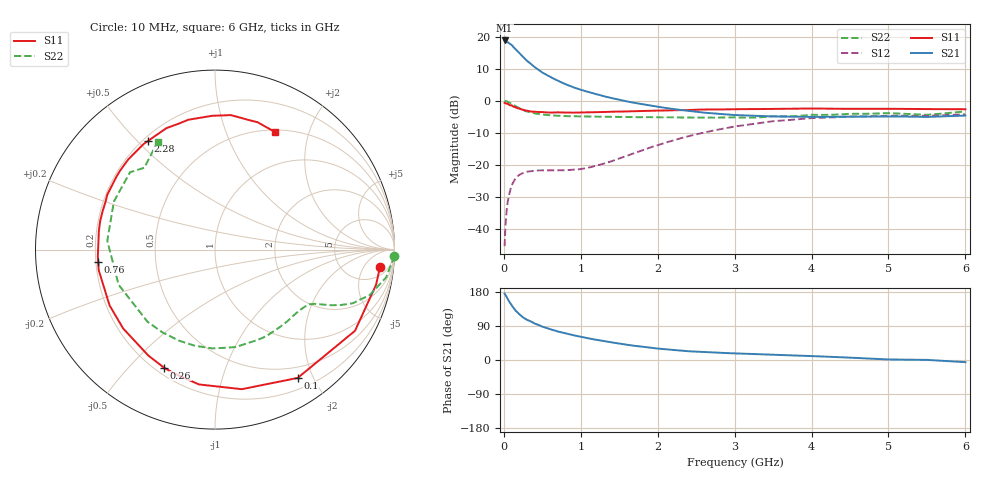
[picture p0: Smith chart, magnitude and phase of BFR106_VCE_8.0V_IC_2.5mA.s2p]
! Infineon Technologies  Discrete & RF Semiconductors
! BFR106
! VCE =  8.0 V,  IC =  2.5 mA
! Common Emitter S-Parameters:  Nov 2015
# GHz  S  MA  R  50
!  f  S11  S21  S12  S22
! GHz  MAG  ANG  MAG  ANG  MAG  ANG  MAG  ANG
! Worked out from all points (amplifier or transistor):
!   210 points, 10 MHz to 6 GHz, reference 50 ohm
!   highest |S21| = 18.8 dB at 10 MHz (marker M1)
!   |S21| within 3 dB of that: start of sweep to 163.5 MHz
!   unconditionally stable (mu >= 1): 751.3 MHz to 1.829 GHz; 4.28 GHz to end of sweep
!   at 185 MHz: K = 0.26, MSG = 19.4 dB, |S12| = -23.5 dB
!   at 1.52 GHz: K = 1.14, MAG = 6.7 dB, |S12| = -17.8 dB
!   at 6 GHz: K = 1.02, MAG = -1.0 dB, |S12| = -4.2 dB
!   S11 on the Smith chart (normalised r, x): 10 MHz: 9, -12; 100 MHz: 0.34, -1.78; 260 MHz: 0.23, -0.63; 760 MHz: 0.21, -0.05; 2.28 GHz: 0.22, +0.54; 6 GHz: 0.52, +1.50
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0.01  0.9243 -6.1  8.678 175.3  0.0054 88.9  0.9978 -1.9
0.025  0.9098 -15.2  8.505 170.4  0.0132 81.1  0.9852 -4.8
0.05  0.9018 -30.1  8.192 160.4  0.0265 74.0  0.9661 -9.2
0.1  0.8505 -57.2  7.415 144.7  0.0475 61.0  0.8981 -16.4
0.15  0.792 -79.1  6.383 130.6  0.0611 50.1  0.8231 -21.3
0.2  0.7566 -96.8  5.553 120.9  0.0697 44.1  0.7635 -23.9
0.24  0.7264 -108.3  4.953 114.1  0.0739 39.3  0.7223 -25.4
0.26  0.7164 -113.4  4.688 111.1  0.0756 37.7  0.7053 -26.0
0.3  0.6974 -122.2  4.197 106.2  0.0781 35.6  0.678 -26.9
0.4  0.6745 -139.3  3.342 96.3  0.0814 31.7  0.6331 -28.5
0.5  0.6647 -152.1  2.746 88.0  0.0821 30.7  0.6072 -30.2
0.6  0.6526 -161.8  2.351 81.4  0.0822 31.8  0.5923 -32.5
0.76  0.6545 -174.0  1.901 72.5  0.0821 36.2  0.5776 -36.6
1.02  0.6555 170.1  1.454 60.4  0.0867 47.7  0.5679 -44.2
1.4  0.6734 153.1  1.095 46.5  0.1137 64.5  0.5607 -57.5
2.02  0.6999 130.0  0.797 29.9  0.2061 71.1  0.5504 -83.4
2.28  0.7111 121.6  0.721 25.2  0.2557 68.8  0.5472 -95.6
3.1  0.7381 99.5  0.591 16.8  0.4107 52.7  0.5447 -138.5
3.5  0.7456 91.3  0.568 14.1  0.4788 43.8  0.5715 -159.9
4.1  0.7521 82.0  0.56 9.6  0.5395 29.6  0.5999 171.1
5.1  0.7459 70.5  0.568 1.2  0.5811 11.3  0.6319 136.4
6  0.7357 63.2  0.586 -5.7  0.6131 -0.5  0.6796 118.1
